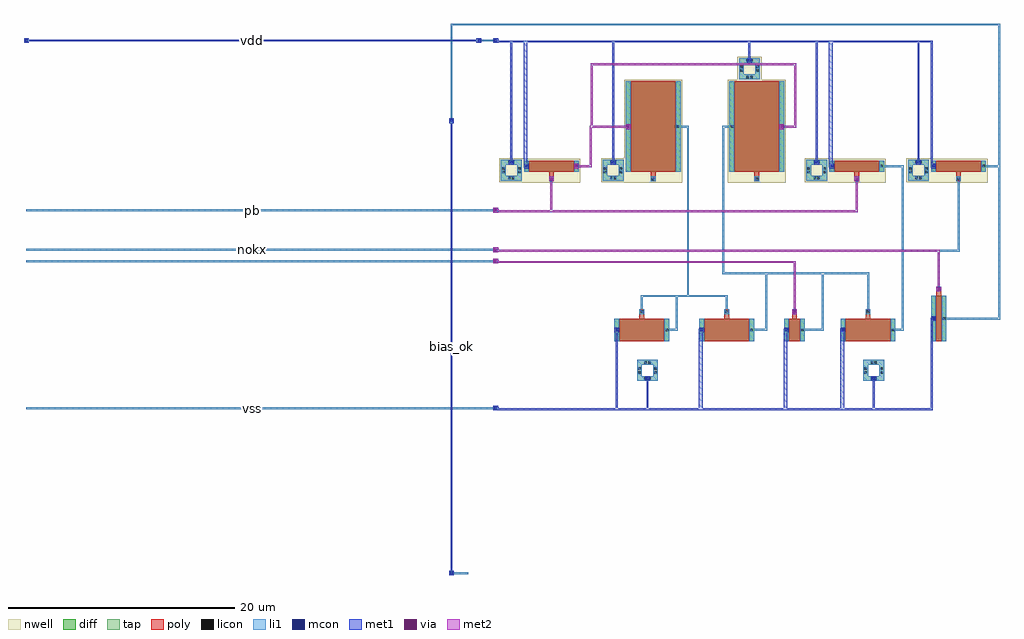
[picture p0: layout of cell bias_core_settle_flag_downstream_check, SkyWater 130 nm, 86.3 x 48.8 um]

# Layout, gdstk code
from math import pi, radians
import gdstk
lib = gdstk.Library(unit=1e-6, precision=1e-09)
def R(c, l, rs):  # rectangles x0, y0, x1, y1
    for r in rs: c.add(gdstk.rectangle(r[:2], r[2:], *l))
def P(c, l, *ps):  # polygons
    for p in ps: c.add(gdstk.Polygon(p, *l))
nwell = (64, 20)
diff = (65, 20)
tap = (65, 44)
poly = (66, 20)
licon = (66, 44)
li1 = (67, 20)
mcon = (67, 44)
met1 = (68, 20)
via = (68, 44)
met2 = (69, 20)

stub_bias_ok__promo_stub = lib.new_cell('stub_bias_ok__promo_stub_v')
R(stub_bias_ok__promo_stub, li1, [(0,0,0.17,1.5)])

stub_nkg__promo_stub = lib.new_cell('stub_nkg__promo_stub')
R(stub_nkg__promo_stub, li1, [(0,0,1.5,0.17)])

stub_nokx__promo_stub = lib.new_cell('stub_nokx__promo_stub')
R(stub_nokx__promo_stub, li1, [(0,0,1.5,0.17)])

stub_pb__promo_stub = lib.new_cell('stub_pb__promo_stub')
R(stub_pb__promo_stub, li1, [(0,0,1.5,0.17)])

stub_vss__promo_stub = lib.new_cell('stub_vss__promo_stub')
R(stub_vss__promo_stub, li1, [(0,0,1.5,0.17)])

stub_vdd__promo_stub = lib.new_cell('stub_vdd__promo_stub')
R(stub_vdd__promo_stub, li1, [(0,0,1.5,0.17)])

guard_ring_6 = lib.new_cell('guard_ring$6')
P(guard_ring_6, tap, [(0,0),(0,1.42),(0.42,1.42),(0.42,0.42),(1.42,0.42),(1.42,1.42),(0,1.42),(0,1.84),(1.84,1.84),(1.84,0)])
R(guard_ring_6, licon, [(0.643,0.1,0.863,0.32), (0.977,0.1,1.197,0.32), (0.1,0.643,0.32,0.863), (1.52,0.643,1.74,0.863), (0.1,0.977,0.32,1.197), (1.52,0.977,1.74,1.197), (0.643,1.52,0.863,1.74), (0.977,1.52,1.197,1.74)])
P(guard_ring_6, li1, [(0,0),(0,1.42),(0.42,1.42),(0.42,0.42),(1.42,0.42),(1.42,1.42),(0,1.42),(0,1.84),(1.84,1.84),(1.84,0)])

pst2__pst2 = lib.new_cell('pst2__pst2')
pst2__pst2.add(gdstk.Reference(guard_ring_6, (0,0)))

guard_ring_5 = lib.new_cell('guard_ring$5')
P(guard_ring_5, tap, [(0,0),(0,1.42),(0.42,1.42),(0.42,0.42),(1.42,0.42),(1.42,1.42),(0,1.42),(0,1.84),(1.84,1.84),(1.84,0)])
R(guard_ring_5, licon, [(0.643,0.1,0.863,0.32), (0.977,0.1,1.197,0.32), (0.1,0.643,0.32,0.863), (1.52,0.643,1.74,0.863), (0.1,0.977,0.32,1.197), (1.52,0.977,1.74,1.197), (0.643,1.52,0.863,1.74), (0.977,1.52,1.197,1.74)])
P(guard_ring_5, li1, [(0,0),(0,1.42),(0.42,1.42),(0.42,0.42),(1.42,0.42),(1.42,1.42),(0,1.42),(0,1.84),(1.84,1.84),(1.84,0)])

pst1__pst1 = lib.new_cell('pst1__pst1')
pst1__pst1.add(gdstk.Reference(guard_ring_5, (0,0)))

guard_ring_4 = lib.new_cell('guard_ring$4')
R(guard_ring_4, nwell, [(-0.15,-0.15,1.99,1.99)])
P(guard_ring_4, tap, [(0,0),(0,1.42),(0.42,1.42),(0.42,0.42),(1.42,0.42),(1.42,1.42),(0,1.42),(0,1.84),(1.84,1.84),(1.84,0)])
R(guard_ring_4, licon, [(0.643,0.1,0.863,0.32), (0.977,0.1,1.197,0.32), (0.1,0.643,0.32,0.863), (1.52,0.643,1.74,0.863), (0.1,0.977,0.32,1.197), (1.52,0.977,1.74,1.197), (0.643,1.52,0.863,1.74), (0.977,1.52,1.197,1.74)])
P(guard_ring_4, li1, [(0,0),(0,1.42),(0.42,1.42),(0.42,0.42),(1.42,0.42),(1.42,1.42),(0,1.42),(0,1.84),(1.84,1.84),(1.84,0)])

nwt_mo1p__nwt_mo1p = lib.new_cell('nwt_mo1p__nwt_mo1p')
nwt_mo1p__nwt_mo1p.add(gdstk.Reference(guard_ring_4, (0,0)))

guard_ring_3 = lib.new_cell('guard_ring$3')
R(guard_ring_3, nwell, [(-0.15,-0.15,1.99,1.99)])
P(guard_ring_3, tap, [(0,0),(0,1.42),(0.42,1.42),(0.42,0.42),(1.42,0.42),(1.42,1.42),(0,1.42),(0,1.84),(1.84,1.84),(1.84,0)])
R(guard_ring_3, licon, [(0.643,0.1,0.863,0.32), (0.977,0.1,1.197,0.32), (0.1,0.643,0.32,0.863), (1.52,0.643,1.74,0.863), (0.1,0.977,0.32,1.197), (1.52,0.977,1.74,1.197), (0.643,1.52,0.863,1.74), (0.977,1.52,1.197,1.74)])
P(guard_ring_3, li1, [(0,0),(0,1.42),(0.42,1.42),(0.42,0.42),(1.42,0.42),(1.42,1.42),(0,1.42),(0,1.84),(1.84,1.84),(1.84,0)])

nwt_mok2p__nwt_mok2p = lib.new_cell('nwt_mok2p__nwt_mok2p')
nwt_mok2p__nwt_mok2p.add(gdstk.Reference(guard_ring_3, (0,0)))

guard_ring_2 = lib.new_cell('guard_ring$2')
R(guard_ring_2, nwell, [(-0.15,-0.15,1.99,1.99)])
P(guard_ring_2, tap, [(0,0),(0,1.42),(0.42,1.42),(0.42,0.42),(1.42,0.42),(1.42,1.42),(0,1.42),(0,1.84),(1.84,1.84),(1.84,0)])
R(guard_ring_2, licon, [(0.643,0.1,0.863,0.32), (0.977,0.1,1.197,0.32), (0.1,0.643,0.32,0.863), (1.52,0.643,1.74,0.863), (0.1,0.977,0.32,1.197), (1.52,0.977,1.74,1.197), (0.643,1.52,0.863,1.74), (0.977,1.52,1.197,1.74)])
P(guard_ring_2, li1, [(0,0),(0,1.42),(0.42,1.42),(0.42,0.42),(1.42,0.42),(1.42,1.42),(0,1.42),(0,1.84),(1.84,1.84),(1.84,0)])

nwt_moka__nwt_moka = lib.new_cell('nwt_moka__nwt_moka')
nwt_moka__nwt_moka.add(gdstk.Reference(guard_ring_2, (0,0)))

guard_ring_1 = lib.new_cell('guard_ring$1')
R(guard_ring_1, nwell, [(-0.15,-0.15,1.99,1.99)])
P(guard_ring_1, tap, [(0,0),(0,1.42),(0.42,1.42),(0.42,0.42),(1.42,0.42),(1.42,1.42),(0,1.42),(0,1.84),(1.84,1.84),(1.84,0)])
R(guard_ring_1, licon, [(0.643,0.1,0.863,0.32), (0.977,0.1,1.197,0.32), (0.1,0.643,0.32,0.863), (1.52,0.643,1.74,0.863), (0.1,0.977,0.32,1.197), (1.52,0.977,1.74,1.197), (0.643,1.52,0.863,1.74), (0.977,1.52,1.197,1.74)])
P(guard_ring_1, li1, [(0,0),(0,1.42),(0.42,1.42),(0.42,0.42),(1.42,0.42),(1.42,1.42),(0,1.42),(0,1.84),(1.84,1.84),(1.84,0)])

nwt_mokb__nwt_mokb = lib.new_cell('nwt_mokb__nwt_mokb')
nwt_mokb__nwt_mokb.add(gdstk.Reference(guard_ring_1, (0,0)))

guard_ring = lib.new_cell('guard_ring')
R(guard_ring, nwell, [(-0.15,-0.15,1.99,1.99)])
P(guard_ring, tap, [(0,0),(0,1.42),(0.42,1.42),(0.42,0.42),(1.42,0.42),(1.42,1.42),(0,1.42),(0,1.84),(1.84,1.84),(1.84,0)])
R(guard_ring, licon, [(0.643,0.1,0.863,0.32), (0.977,0.1,1.197,0.32), (0.1,0.643,0.32,0.863), (1.52,0.643,1.74,0.863), (0.1,0.977,0.32,1.197), (1.52,0.977,1.74,1.197), (0.643,1.52,0.863,1.74), (0.977,1.52,1.197,1.74)])
P(guard_ring, li1, [(0,0),(0,1.42),(0.42,1.42),(0.42,0.42),(1.42,0.42),(1.42,1.42),(0,1.42),(0,1.84),(1.84,1.84),(1.84,0)])

nwt_mpok__nwt_mpok = lib.new_cell('nwt_mpok__nwt_mpok')
nwt_mpok__nwt_mpok.add(gdstk.Reference(guard_ring, (0,0)))

mos_array_9 = lib.new_cell('mos_array$9')
R(mos_array_9, diff, [(0,0,1.34,4)])
R(mos_array_9, poly, [(0.42,0,0.92,4), (0.46,4,0.88,4.82)])
R(mos_array_9, licon, [(0.1,1.89,0.32,2.11), (1.02,1.89,1.24,2.11), (0.56,4.5,0.78,4.72)])
R(mos_array_9, li1, [(0,0,0.42,4), (0.92,0,1.34,4), (0.46,4.4,0.88,4.82)])

mo1n__mo1n_nfet = lib.new_cell('mo1n__mo1n_nfet')
mo1n__mo1n_nfet.add(gdstk.Reference(mos_array_9, (0,0)))

mos_array_8 = lib.new_cell('mos_array$8')
R(mos_array_8, diff, [(0,0,4.84,2)])
R(mos_array_8, poly, [(0.42,0,4.42,2), (2.21,2,2.63,2.82)])
R(mos_array_8, licon, [(0.1,0.89,0.32,1.11), (4.52,0.89,4.74,1.11), (2.31,2.5,2.53,2.72)])
R(mos_array_8, li1, [(0,0,0.42,2), (4.42,0,4.84,2), (2.21,2.4,2.63,2.82)])

mok2__mok2_nfet = lib.new_cell('mok2__mok2_nfet')
mok2__mok2_nfet.add(gdstk.Reference(mos_array_8, (0,0)))

mos_array_7 = lib.new_cell('mos_array$7')
R(mos_array_7, diff, [(0,0,1.84,2)])
R(mos_array_7, poly, [(0.42,0,1.42,2), (0.71,2,1.13,2.82)])
R(mos_array_7, licon, [(0.1,0.89,0.32,1.11), (1.52,0.89,1.74,1.11), (0.81,2.5,1.03,2.72)])
R(mos_array_7, li1, [(0,0,0.42,2), (1.42,0,1.84,2), (0.71,2.4,1.13,2.82)])

mokc__mokc_nfet = lib.new_cell('mokc__mokc_nfet')
mokc__mokc_nfet.add(gdstk.Reference(mos_array_7, (0,0)))

mos_array_6 = lib.new_cell('mos_array$6')
R(mos_array_6, diff, [(0,0,4.84,2)])
R(mos_array_6, poly, [(0.42,0,4.42,2), (2.21,2,2.63,2.82)])
R(mos_array_6, licon, [(0.1,0.89,0.32,1.11), (4.52,0.89,4.74,1.11), (2.31,2.5,2.53,2.72)])
R(mos_array_6, li1, [(0,0,0.42,2), (4.42,0,4.84,2), (2.21,2.4,2.63,2.82)])

mol2__mol2_nfet = lib.new_cell('mol2__mol2_nfet')
mol2__mol2_nfet.add(gdstk.Reference(mos_array_6, (0,0)))

mos_array_5 = lib.new_cell('mos_array$5')
R(mos_array_5, diff, [(0,0,4.84,2)])
R(mos_array_5, poly, [(0.42,0,4.42,2), (2.21,2,2.63,2.82)])
R(mos_array_5, licon, [(0.1,0.89,0.32,1.11), (4.52,0.89,4.74,1.11), (2.31,2.5,2.53,2.72)])
R(mos_array_5, li1, [(0,0,0.42,2), (4.42,0,4.84,2), (2.21,2.4,2.63,2.82)])

mol1__mol1_nfet = lib.new_cell('mol1__mol1_nfet')
mol1__mol1_nfet.add(gdstk.Reference(mos_array_5, (0,0)))

mos_array_4 = lib.new_cell('mos_array$4')
R(mos_array_4, nwell, [(-0.15,-0.15,4.99,1.97)])
R(mos_array_4, diff, [(0,0,4.84,1)])
R(mos_array_4, poly, [(0.42,0,4.42,1), (2.21,1,2.63,1.82)])
R(mos_array_4, licon, [(0.1,0.39,0.32,0.61), (4.52,0.39,4.74,0.61), (2.31,1.5,2.53,1.72)])
R(mos_array_4, li1, [(0,0,0.42,1), (4.42,0,4.84,1), (2.21,1.4,2.63,1.82)])

mo1p__mo1p_pfet = lib.new_cell('mo1p__mo1p_pfet')
mo1p__mo1p_pfet.add(gdstk.Reference(mos_array_4, (0,0)))

mos_array_3 = lib.new_cell('mos_array$3')
R(mos_array_3, nwell, [(-0.15,-0.15,4.99,1.97)])
R(mos_array_3, diff, [(0,0,4.84,1)])
R(mos_array_3, poly, [(0.42,0,4.42,1), (2.21,1,2.63,1.82)])
R(mos_array_3, licon, [(0.1,0.39,0.32,0.61), (4.52,0.39,4.74,0.61), (2.31,1.5,2.53,1.72)])
R(mos_array_3, li1, [(0,0,0.42,1), (4.42,0,4.84,1), (2.21,1.4,2.63,1.82)])

mok2p__mok2p_pfet = lib.new_cell('mok2p__mok2p_pfet')
mok2p__mok2p_pfet.add(gdstk.Reference(mos_array_3, (0,0)))

mos_array_2 = lib.new_cell('mos_array$2')
R(mos_array_2, nwell, [(-0.15,-0.15,4.99,8.97)])
R(mos_array_2, diff, [(0,0,4.84,8)])
R(mos_array_2, poly, [(0.42,0,4.42,8), (2.21,8,2.63,8.82)])
R(mos_array_2, licon, [(0.1,3.89,0.32,4.11), (4.52,3.89,4.74,4.11), (2.31,8.5,2.53,8.72)])
R(mos_array_2, li1, [(0,0,0.42,8), (4.42,0,4.84,8), (2.21,8.4,2.63,8.82)])

moka__moka_pfet = lib.new_cell('moka__moka_pfet')
moka__moka_pfet.add(gdstk.Reference(mos_array_2, (0,0)))

mos_array_1 = lib.new_cell('mos_array$1')
R(mos_array_1, nwell, [(-0.15,-0.15,4.99,8.97)])
R(mos_array_1, diff, [(0,0,4.84,8)])
R(mos_array_1, poly, [(0.42,0,4.42,8), (2.21,8,2.63,8.82)])
R(mos_array_1, licon, [(0.1,3.89,0.32,4.11), (4.52,3.89,4.74,4.11), (2.31,8.5,2.53,8.72)])
R(mos_array_1, li1, [(0,0,0.42,8), (4.42,0,4.84,8), (2.21,8.4,2.63,8.82)])

mokb__mokb_pfet = lib.new_cell('mokb__mokb_pfet')
mokb__mokb_pfet.add(gdstk.Reference(mos_array_1, (0,0)))

mos_array = lib.new_cell('mos_array')
R(mos_array, nwell, [(-0.15,-0.15,4.99,1.97)])
R(mos_array, diff, [(0,0,4.84,1)])
R(mos_array, poly, [(0.42,0,4.42,1), (2.21,1,2.63,1.82)])
R(mos_array, licon, [(0.1,0.39,0.32,0.61), (4.52,0.39,4.74,0.61), (2.31,1.5,2.53,1.72)])
R(mos_array, li1, [(0,0,0.42,1), (4.42,0,4.84,1), (2.21,1.4,2.63,1.82)])

mpok__mpok_pfet = lib.new_cell('mpok__mpok_pfet')
mpok__mpok_pfet.add(gdstk.Reference(mos_array, (0,0)))

sub__bias_core_settle_fl = lib.new_cell('sub__bias_core_settle_flag')
R(sub__bias_core_settle_fl, li1, [(-2.71,-6.125,-2.29,-5.705), (10.71,-3.5,11.13,-3.08), (10.71,-3.5,11.13,-3.08), (30.71,-3.5,31.13,-3.08), (30.71,-3.5,31.13,-3.08), (8,0.79,8.42,1.21), (8,0.79,8.42,1.21), (15.5,0.79,15.92,1.21), (15.5,0.79,15.92,1.21), (23,0.79,23.42,1.21), (23,0.79,23.42,1.21), (28,0.79,28.42,1.21), (28,0.79,28.42,1.21), (36,1.79,36.42,2.21), (23.71,2.4,24.13,2.82), (10.21,2.61,10.63,2.78), (10.21,2.61,10.63,2.78), (17.71,2.61,18.13,2.78), (17.71,2.61,18.13,2.78), (30.21,2.61,30.63,2.78), (36.46,4.4,36.88,4.82), (36.46,4.61,36.88,4.78), (36.46,4.61,36.88,4.78), (-2.71,6.875,-2.29,7.295), (-2.71,7.875,-2.29,8.295), (-2.71,11.375,-2.29,11.795), (2.21,14.15,2.63,14.57), (2.21,14.15,2.63,14.57), (29.21,14.15,29.63,14.57), (38.21,14.19,38.63,14.36), (0,15.26,0.42,15.68), (0,15.26,0.42,15.68), (4.42,15.26,4.84,15.68), (27,15.26,27.42,15.68), (27,15.26,27.42,15.68), (36,15.26,36.42,15.68), (-1.33,15.62,-0.91,16.04), (-1.33,15.62,-0.91,16.04), (7.67,15.62,8.09,16.04), (7.67,15.62,8.09,16.04), (25.67,15.62,26.09,16.04), (25.67,15.62,26.09,16.04), (34.67,15.62,35.09,16.04), (34.67,15.62,35.09,16.04), (9,18.76,9.42,19.18), (9,18.76,9.42,19.18), (22.58,18.76,23,19.18), (19.72,24.59,20.14,25.01), (19.72,24.59,20.14,25.01), (-2.71,26.375,-2.29,26.795)])
R(sub__bias_core_settle_fl, mcon, [(-2.61,-6.025,-2.39,-5.805), (10.81,-3.4,11.03,-3.18), (10.81,-3.4,11.03,-3.18), (30.81,-3.4,31.03,-3.18), (30.81,-3.4,31.03,-3.18), (8.1,0.89,8.32,1.11), (8.1,0.89,8.32,1.11), (15.6,0.89,15.82,1.11), (15.6,0.89,15.82,1.11), (23.1,0.89,23.32,1.11), (23.1,0.89,23.32,1.11), (28.1,0.89,28.32,1.11), (28.1,0.89,28.32,1.11), (36.1,1.89,36.32,2.11), (23.81,2.5,24.03,2.72), (36.56,4.5,36.78,4.72), (-2.61,6.975,-2.39,7.195), (-2.61,7.975,-2.39,8.195), (-2.61,11.475,-2.39,11.695), (2.31,14.25,2.53,14.47), (2.31,14.25,2.53,14.47), (29.31,14.25,29.53,14.47), (0.1,15.36,0.32,15.58), (0.1,15.36,0.32,15.58), (4.52,15.36,4.74,15.58), (27.1,15.36,27.32,15.58), (27.1,15.36,27.32,15.58), (36.1,15.36,36.32,15.58), (-1.23,15.72,-1.01,15.94), (-1.23,15.72,-1.01,15.94), (7.77,15.72,7.99,15.94), (7.77,15.72,7.99,15.94), (25.77,15.72,25.99,15.94), (25.77,15.72,25.99,15.94), (34.77,15.72,34.99,15.94), (34.77,15.72,34.99,15.94), (9.1,18.86,9.32,19.08), (9.1,18.86,9.32,19.08), (22.68,18.86,22.9,19.08), (19.82,24.69,20.04,24.91), (19.82,24.69,20.04,24.91), (-2.61,26.475,-2.39,26.695)])
R(sub__bias_core_settle_fl, met1, [(-2.71,-6.125,-2.29,-5.705), (10.71,-3.5,11.13,-3.08), (10.71,-3.5,11.13,-3.08), (30.71,-3.5,31.13,-3.08), (30.71,-3.5,31.13,-3.08), (8,0.79,8.42,1.21), (8,0.79,8.42,1.21), (15.5,0.79,15.92,1.21), (15.5,0.79,15.92,1.21), (23,0.79,23.42,1.21), (23,0.79,23.42,1.21), (28,0.79,28.42,1.21), (28,0.79,28.42,1.21), (36,1.79,36.42,2.21), (23.71,2.4,24.13,2.82), (23.71,2.4,24.13,2.82), (36.46,4.4,36.88,4.82), (36.46,4.4,36.88,4.82), (-2.71,6.875,-2.29,7.295), (-2.71,6.875,-2.29,7.295), (-2.71,7.875,-2.29,8.295), (-2.71,7.875,-2.29,8.295), (-2.71,11.375,-2.29,11.795), (-2.71,11.375,-2.29,11.795), (2.21,14.15,2.63,14.57), (2.21,14.15,2.63,14.57), (2.21,14.15,2.63,14.57), (2.21,14.15,2.63,14.57), (29.21,14.15,29.63,14.57), (29.21,14.15,29.63,14.57), (0,15.26,0.42,15.68), (0,15.26,0.42,15.68), (4.42,15.26,4.84,15.68), (4.42,15.26,4.84,15.68), (27,15.26,27.42,15.68), (27,15.26,27.42,15.68), (36,15.26,36.42,15.68), (-1.33,15.62,-0.91,16.04), (-1.33,15.62,-0.91,16.04), (7.67,15.62,8.09,16.04), (7.67,15.62,8.09,16.04), (25.67,15.62,26.09,16.04), (25.67,15.62,26.09,16.04), (34.67,15.62,35.09,16.04), (34.67,15.62,35.09,16.04), (9,18.76,9.42,19.18), (9,18.76,9.42,19.18), (9,18.76,9.42,19.18), (9,18.76,9.42,19.18), (22.58,18.76,23,19.18), (22.58,18.76,23,19.18), (19.72,24.59,20.14,25.01), (19.72,24.59,20.14,25.01), (-2.71,26.375,-2.29,26.795)])
R(sub__bias_core_settle_fl, via, [(23.81,2.5,24.03,2.72), (36.56,4.5,36.78,4.72), (-2.61,6.975,-2.39,7.195), (-2.61,7.975,-2.39,8.195), (-2.61,11.475,-2.39,11.695), (2.31,14.25,2.53,14.47), (2.31,14.25,2.53,14.47), (29.31,14.25,29.53,14.47), (4.52,15.36,4.74,15.58), (9.1,18.86,9.32,19.08), (9.1,18.86,9.32,19.08), (22.68,18.86,22.9,19.08)])
R(sub__bias_core_settle_fl, met2, [(23.71,2.4,24.13,2.82), (36.46,4.4,36.88,4.82), (-2.71,6.875,-2.29,7.295), (-2.71,7.875,-2.29,8.295), (-2.71,11.375,-2.29,11.795), (2.21,14.15,2.63,14.57), (2.21,14.15,2.63,14.57), (29.21,14.15,29.63,14.57), (4.42,15.26,4.84,15.68), (9,18.76,9.42,19.18), (9,18.76,9.42,19.18), (22.58,18.76,23,19.18)])
sub__bias_core_settle_fl.add(gdstk.FlexPath([(13.63,18.97),(14.5,18.97),(14.5,4),(17.92,4),(17.92,2.61)], 0.17, ends="flush", simple_path=True, layer=67, datatype=20))  # li1
sub__bias_core_settle_fl.add(gdstk.FlexPath([(17.92,2.61),(17.92,4),(10.42,4),(10.42,2.61)], 0.17, ends="flush", simple_path=True, layer=67, datatype=20))  # li1
sub__bias_core_settle_fl.add(gdstk.FlexPath([(10.42,2.61),(10.42,4),(13.5,4),(13.5,1),(12.63,1)], 0.17, ends="flush", simple_path=True, layer=67, datatype=20))  # li1
sub__bias_core_settle_fl.add(gdstk.FlexPath([(18.37,18.97),(17.6,18.97),(17.6,6),(21.4,6),(21.4,1),(20.13,1)], 0.17, ends="flush", simple_path=True, layer=67, datatype=20))  # li1
sub__bias_core_settle_fl.add(gdstk.FlexPath([(20.13,1),(21.4,1),(21.4,6),(26.4,6),(26.4,1),(24.63,1)], 0.17, ends="flush", simple_path=True, layer=67, datatype=20))  # li1
sub__bias_core_settle_fl.add(gdstk.FlexPath([(24.63,1),(26.4,1),(26.4,6),(30.42,6),(30.42,2.61)], 0.17, ends="flush", simple_path=True, layer=67, datatype=20))  # li1
sub__bias_core_settle_fl.add(gdstk.FlexPath([(31.63,15.47),(33.5,15.47),(33.5,1),(32.63,1)], 0.17, ends="flush", simple_path=True, layer=67, datatype=20))  # li1
sub__bias_core_settle_fl.add(gdstk.FlexPath([(32.63,1),(33.5,1),(33.5,8),(36.67,8),(36.67,4.61)], 0.17, ends="flush", simple_path=True, layer=67, datatype=20))  # li1
sub__bias_core_settle_fl.add(gdstk.FlexPath([(36.67,4.61),(36.67,8),(38.42,8),(38.42,14.36)], 0.17, ends="flush", simple_path=True, layer=67, datatype=20))  # li1
sub__bias_core_settle_fl.add(gdstk.FlexPath([(40.63,15.47),(42,15.47),(42,2),(37.13,2)], 0.17, ends="flush", simple_path=True, layer=67, datatype=20))  # li1
sub__bias_core_settle_fl.add(gdstk.FlexPath([(40.63,15.47),(42,15.47),(42,28),(-6.415,28),(-6.415,21)], 0.17, ends="flush", simple_path=True, layer=67, datatype=20))  # li1
sub__bias_core_settle_fl.add(gdstk.FlexPath([(-1.12,15.83),(-1.12,26.5),(0.04,26.5),(0.04,15.47),(0.21,15.47)], 0.17, ends="flush", simple_path=True, layer=68, datatype=20))  # met1
sub__bias_core_settle_fl.add(gdstk.FlexPath([(0.21,15.47),(0.21,26.5),(7.88,26.5),(7.88,15.83)], 0.17, ends="flush", simple_path=True, layer=68, datatype=20))  # met1
sub__bias_core_settle_fl.add(gdstk.FlexPath([(7.88,15.83),(7.88,26.5),(19.93,26.5),(19.93,24.8)], 0.17, ends="flush", simple_path=True, layer=68, datatype=20))  # met1
sub__bias_core_settle_fl.add(gdstk.FlexPath([(19.93,24.8),(19.93,26.5),(25.88,26.5),(25.88,15.83)], 0.17, ends="flush", simple_path=True, layer=68, datatype=20))  # met1
sub__bias_core_settle_fl.add(gdstk.FlexPath([(25.88,15.83),(25.88,26.5),(27.04,26.5),(27.04,15.47),(27.21,15.47)], 0.17, ends="flush", simple_path=True, layer=68, datatype=20))  # met1
sub__bias_core_settle_fl.add(gdstk.FlexPath([(27.21,15.47),(27.21,26.5),(34.88,26.5),(34.88,15.83)], 0.17, ends="flush", simple_path=True, layer=68, datatype=20))  # met1
sub__bias_core_settle_fl.add(gdstk.FlexPath([(34.88,15.83),(34.88,26.5),(36.04,26.5),(36.04,15.47),(36.21,15.47)], 0.17, ends="flush", simple_path=True, layer=68, datatype=20))  # met1
sub__bias_core_settle_fl.add(gdstk.FlexPath([(-1.12,15.83),(-1.12,26.5),(-2.33,26.5),(-2.33,26.585),(-2.5,26.585)], 0.17, ends="flush", simple_path=True, layer=68, datatype=20))  # met1
sub__bias_core_settle_fl.add(gdstk.FlexPath([(8.21,1),(8.21,-6),(10.92,-6),(10.92,-3.29)], 0.17, ends="flush", simple_path=True, layer=68, datatype=20))  # met1
sub__bias_core_settle_fl.add(gdstk.FlexPath([(10.92,-3.29),(10.92,-6),(15.54,-6),(15.54,1),(15.71,1)], 0.17, ends="flush", simple_path=True, layer=68, datatype=20))  # met1
sub__bias_core_settle_fl.add(gdstk.FlexPath([(15.71,1),(15.71,-6),(23.04,-6),(23.04,1),(23.21,1)], 0.17, ends="flush", simple_path=True, layer=68, datatype=20))  # met1
sub__bias_core_settle_fl.add(gdstk.FlexPath([(23.21,1),(23.21,-6),(28.04,-6),(28.04,1),(28.21,1)], 0.17, ends="flush", simple_path=True, layer=68, datatype=20))  # met1
sub__bias_core_settle_fl.add(gdstk.FlexPath([(28.21,1),(28.21,-6),(30.92,-6),(30.92,-3.29)], 0.17, ends="flush", simple_path=True, layer=68, datatype=20))  # met1
sub__bias_core_settle_fl.add(gdstk.FlexPath([(30.92,-3.29),(30.92,-6),(36.04,-6),(36.04,2),(36.21,2)], 0.17, ends="flush", simple_path=True, layer=68, datatype=20))  # met1
sub__bias_core_settle_fl.add(gdstk.FlexPath([(8.21,1),(8.21,-6),(-2.33,-6),(-2.33,-5.915),(-2.5,-5.915)], 0.17, ends="flush", simple_path=True, layer=68, datatype=20))  # met1
sub__bias_core_settle_fl.add(gdstk.FlexPath([(4.63,15.47),(5.9,15.47),(5.9,18.97),(9.21,18.97)], 0.17, ends="flush", simple_path=True, layer=69, datatype=20))  # met2
sub__bias_core_settle_fl.add(gdstk.FlexPath([(9.21,18.97),(6,18.97),(6,24.5),(24,24.5),(24,18.97),(22.79,18.97)], 0.17, ends="flush", simple_path=True, layer=69, datatype=20))  # met2
sub__bias_core_settle_fl.add(gdstk.FlexPath([(2.42,14.36),(2.42,11.5),(29.42,11.5),(29.42,14.36)], 0.17, ends="flush", simple_path=True, layer=69, datatype=20))  # met2
sub__bias_core_settle_fl.add(gdstk.FlexPath([(2.42,14.36),(2.42,11.5),(-2.33,11.5),(-2.33,11.585),(-2.5,11.585)], 0.17, ends="flush", simple_path=True, layer=69, datatype=20))  # met2
sub__bias_core_settle_fl.add(gdstk.FlexPath([(36.67,4.61),(36.67,8),(-2.33,8),(-2.33,8.085),(-2.5,8.085)], 0.17, ends="flush", simple_path=True, layer=69, datatype=20))  # met2
sub__bias_core_settle_fl.add(gdstk.FlexPath([(23.92,2.61),(23.92,7),(-2.33,7),(-2.33,7.085),(-2.5,7.085)], 0.17, ends="flush", simple_path=True, layer=69, datatype=20))  # met2
sub__bias_core_settle_fl.add(gdstk.Reference(stub_bias_ok__promo_stub, (-6.5,19.5)))
sub__bias_core_settle_fl.add(gdstk.Reference(stub_nkg__promo_stub, (-4,7)))
sub__bias_core_settle_fl.add(gdstk.Reference(stub_nokx__promo_stub, (-4,8)))
sub__bias_core_settle_fl.add(gdstk.Reference(stub_pb__promo_stub, (-4,11.5)))
sub__bias_core_settle_fl.add(gdstk.Reference(stub_vss__promo_stub, (-4,-6)))
sub__bias_core_settle_fl.add(gdstk.Reference(stub_vdd__promo_stub, (-4,26.5)))
sub__bias_core_settle_fl.add(gdstk.Reference(pst2__pst2, (30,-3.5)))
sub__bias_core_settle_fl.add(gdstk.Reference(pst1__pst1, (10,-3.5)))
sub__bias_core_settle_fl.add(gdstk.Reference(nwt_mo1p__nwt_mo1p, (33.96,14.2)))
sub__bias_core_settle_fl.add(gdstk.Reference(nwt_mok2p__nwt_mok2p, (24.96,14.2)))
sub__bias_core_settle_fl.add(gdstk.Reference(nwt_moka__nwt_moka, (19.01,23.17)))
sub__bias_core_settle_fl.add(gdstk.Reference(nwt_mokb__nwt_mokb, (6.96,14.2)))
sub__bias_core_settle_fl.add(gdstk.Reference(nwt_mpok__nwt_mpok, (-2.04,14.2)))
sub__bias_core_settle_fl.add(gdstk.Reference(mo1n__mo1n_nfet, (36,0)))
sub__bias_core_settle_fl.add(gdstk.Reference(mok2__mok2_nfet, (28,0)))
sub__bias_core_settle_fl.add(gdstk.Reference(mokc__mokc_nfet, (23,0)))
sub__bias_core_settle_fl.add(gdstk.Reference(mol2__mol2_nfet, (15.5,0)))
sub__bias_core_settle_fl.add(gdstk.Reference(mol1__mol1_nfet, (8,0)))
sub__bias_core_settle_fl.add(gdstk.Reference(mo1p__mo1p_pfet, (36,15.97), x_reflection=True))
sub__bias_core_settle_fl.add(gdstk.Reference(mok2p__mok2p_pfet, (27,15.97), x_reflection=True))
sub__bias_core_settle_fl.add(gdstk.Reference(moka__moka_pfet, (23,22.97), rotation=pi))
sub__bias_core_settle_fl.add(gdstk.Reference(mokb__mokb_pfet, (9,22.97), x_reflection=True))
sub__bias_core_settle_fl.add(gdstk.Reference(mpok__mpok_pfet, (0,15.97), x_reflection=True))
sub__bias_core_settle_fl.add(gdstk.Label('vdd', (-0.275,26.5), layer=68, texttype=5))
sub__bias_core_settle_fl.add(gdstk.Label('vss', (8.21,-5.21), layer=68, texttype=5))
sub__bias_core_settle_fl.add(gdstk.Label('tok', (5.9,18.24), layer=69, texttype=5))
sub__bias_core_settle_fl.add(gdstk.Label('pb', (15.92,11.5), layer=69, texttype=5))
sub__bias_core_settle_fl.add(gdstk.Label('nkg', (12.862,7), layer=69, texttype=5))
sub__bias_core_settle_fl.add(gdstk.Label('nokl', (14.5,9.515), layer=67, texttype=5))
sub__bias_core_settle_fl.add(gdstk.Label('noko', (17.6,7.835), layer=67, texttype=5))
sub__bias_core_settle_fl.add(gdstk.Label('nokx', (33.5,8.735), layer=67, texttype=5))
sub__bias_core_settle_fl.add(gdstk.Label('bias_ok', (42,6.985), layer=67, texttype=5))
sub__bias_core_settle_fl.add(gdstk.Label('na', (20.58,14.36), layer=67, texttype=5))
sub__bias_core_settle_fl.add(gdstk.Label('nbtop', (11.42,14.36), layer=67, texttype=5))
sub__bias_core_settle_fl.add(gdstk.Label('vdd', (-4,26.585), layer=67, texttype=5))
sub__bias_core_settle_fl.add(gdstk.Label('vss', (-4,-5.915), layer=67, texttype=5))
sub__bias_core_settle_fl.add(gdstk.Label('pb', (-4,11.585), layer=67, texttype=5))
sub__bias_core_settle_fl.add(gdstk.Label('nokx', (-4,8.085), layer=67, texttype=5))
sub__bias_core_settle_fl.add(gdstk.Label('nkg', (-4,7.085), layer=67, texttype=5))
sub__bias_core_settle_fl.add(gdstk.Label('bias_ok', (-6.415,19.5), layer=67, texttype=5))

dummy_vdd__promo_stub = lib.new_cell('dummy_vdd__promo_stub')
R(dummy_vdd__promo_stub, li1, [(0,0,1.5,0.17)])

dummy_vss__promo_stub = lib.new_cell('dummy_vss__promo_stub')
R(dummy_vss__promo_stub, li1, [(0,0,1.5,0.17)])

dummy_pb__promo_stub = lib.new_cell('dummy_pb__promo_stub')
R(dummy_pb__promo_stub, li1, [(0,0,1.5,0.17)])

dummy_nokx__promo_stub = lib.new_cell('dummy_nokx__promo_stub')
R(dummy_nokx__promo_stub, li1, [(0,0,1.5,0.17)])

dummy_nkg__promo_stub = lib.new_cell('dummy_nkg__promo_stub')
R(dummy_nkg__promo_stub, li1, [(0,0,1.5,0.17)])

dummy_bias_ok__promo_stu = lib.new_cell('dummy_bias_ok__promo_stub')
R(dummy_bias_ok__promo_stu, li1, [(0,0,1.5,0.17)])

bias_core_settle_flag_do = lib.new_cell('bias_core_settle_flag_downstream_check')
R(bias_core_settle_flag_do, li1, [(-6.625,-20.71,-6.205,-20.29), (-6.625,19.29,-6.205,19.71), (-44.21,26.375,-43.79,26.795), (-4.21,26.375,-3.79,26.795)])
R(bias_core_settle_flag_do, mcon, [(-6.525,-20.61,-6.305,-20.39), (-6.525,19.39,-6.305,19.61), (-44.11,26.475,-43.89,26.695), (-4.11,26.475,-3.89,26.695)])
R(bias_core_settle_flag_do, met1, [(-6.625,-20.71,-6.205,-20.29), (-6.625,19.29,-6.205,19.71), (-44.21,26.375,-43.79,26.795), (-4.21,26.375,-3.79,26.795)])
bias_core_settle_flag_do.add(gdstk.FlexPath([(-4,-5.915),(-44,-5.915)], 0.17, ends="flush", simple_path=True, layer=67, datatype=20))  # li1
bias_core_settle_flag_do.add(gdstk.FlexPath([(-4,11.585),(-44,11.585)], 0.17, ends="flush", simple_path=True, layer=67, datatype=20))  # li1
bias_core_settle_flag_do.add(gdstk.FlexPath([(-4,8.085),(-44,8.085)], 0.17, ends="flush", simple_path=True, layer=67, datatype=20))  # li1
bias_core_settle_flag_do.add(gdstk.FlexPath([(-4,7.085),(-44,7.085)], 0.17, ends="flush", simple_path=True, layer=67, datatype=20))  # li1
bias_core_settle_flag_do.add(gdstk.FlexPath([(-4,26.585),(-44,26.585)], 0.14, ends="flush", simple_path=True, layer=68, datatype=20))  # met1
bias_core_settle_flag_do.add(gdstk.FlexPath([(-6.415,19.5),(-6.415,-20.5)], 0.14, ends="flush", simple_path=True, layer=68, datatype=20))  # met1
bias_core_settle_flag_do.add(gdstk.Reference(sub__bias_core_settle_fl, (0,0)))
bias_core_settle_flag_do.add(gdstk.Reference(dummy_vdd__promo_stub, (-44,26.5)))
bias_core_settle_flag_do.add(gdstk.Reference(dummy_vss__promo_stub, (-44,-6)))
bias_core_settle_flag_do.add(gdstk.Reference(dummy_pb__promo_stub, (-44,11.5)))
bias_core_settle_flag_do.add(gdstk.Reference(dummy_nokx__promo_stub, (-44,8)))
bias_core_settle_flag_do.add(gdstk.Reference(dummy_nkg__promo_stub, (-44,7)))
bias_core_settle_flag_do.add(gdstk.Reference(dummy_bias_ok__promo_stu, (-6.415,-20.585)))
bias_core_settle_flag_do.add(gdstk.Label('vdd', (-24,26.585), layer=68, texttype=5))
bias_core_settle_flag_do.add(gdstk.Label('bias_ok', (-6.415,-0.5), layer=68, texttype=5))
bias_core_settle_flag_do.add(gdstk.Label('vss', (-24,-5.915), layer=67, texttype=5))
bias_core_settle_flag_do.add(gdstk.Label('pb', (-24,11.585), layer=67, texttype=5))
bias_core_settle_flag_do.add(gdstk.Label('nokx', (-24,8.085), layer=67, texttype=5))
bias_core_settle_flag_do.add(gdstk.Label('nkg', (-24,7.085), layer=67, texttype=5))

lib.write_gds('bias_core_settle_flag_downstream_check.gds')
